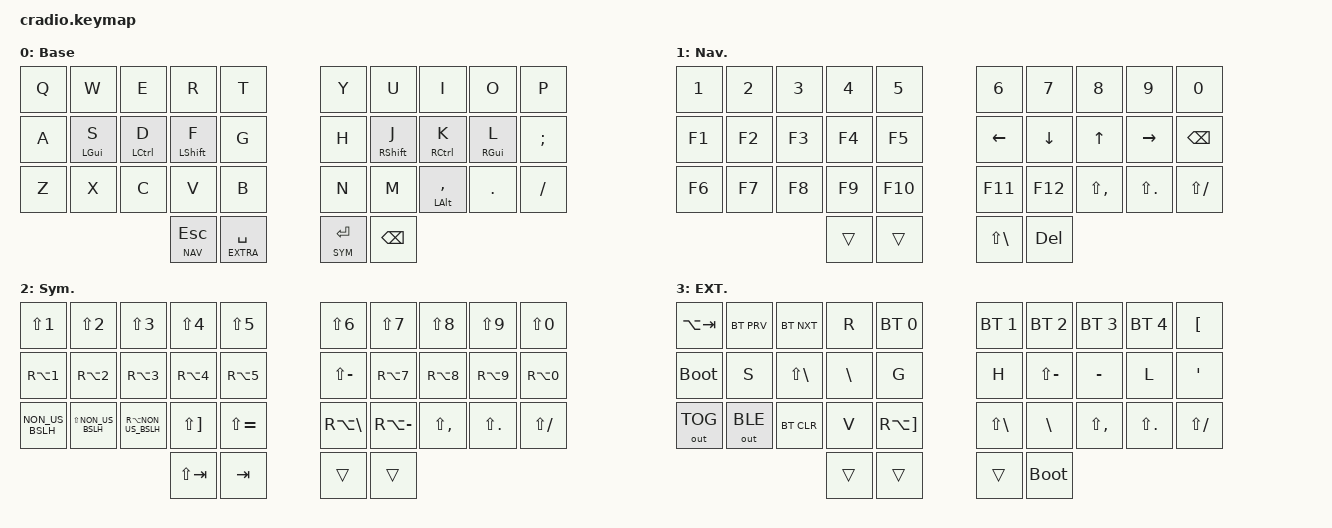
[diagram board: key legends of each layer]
/*
 * Copyright (c) 2020 duckyb
 *
 * SPDX-License-Identifier: MIT
 */

#include <behaviors.dtsi>
#include <dt-bindings/zmk/keys.h>
#include <dt-bindings/zmk/bt.h>
#include <dt-bindings/zmk/outputs.h>

// Layer definitions
#define DEFAULT 0
#define NAV 1
#define SYM 2
#define EXTRA 3
#define FUN 4
#define ES 5
#define MSE 6
#define MED 7
// -----------------

&sk {
	// don't release mods on other mods presses
	ignore-modifiers;
};


/ {
	behaviors {
		// Enables holding the first mod-tap key
		// by performing a tap-release-hold sequence.
		// To use it: "&qt KEYCODE1 KEYCODE2"
		/* qt: quick_tap {
			compatible = "zmk,behavior-hold-tap";
			label = "QUICK_TAP";
			#binding-cells = <2>;
			flavor = "hold-preferred";
			tapping-term-ms = <200>;
			quick-tap-ms = <200>;
			bindings = <&kp>, <&kp>;
		}; */
        bhm: balanced_homerow_mods {
            compatible = "zmk,behavior-hold-tap";
            #binding-cells = <2>;
            tapping-term-ms = <200>;    // <---[[moderate duration]]
            quick-tap-ms = <0>;
            flavor = "balanced";
            bindings = <&kp>, <&kp>;
        };
	};

	macros {
		// sometimes my device thinks a modifier is being held down
		// pressing all modifiers fixes it.
		unstick: unstick {
			label = "ZM_unstick";
			compatible = "zmk,behavior-macro";
			#binding-cells = <0>;
			bindings = <&kp LSHIFT &kp RSHIFT &kp LCTRL &kp RCTRL &kp LALT &kp RALT &kp LGUI &kp RGUI>;
		};
	};

	// combos {
	// 	compatible = "zmk,combos";
	// 	// both right thumb keys
	// 	combo_accent {
	// 		timeout-ms = <200>;
	// 		key-positions = <32 33>;
	// 		bindings = <&mo ACCENT>;
	// 	};
	// 	// internal-left & external-right thumb keys
	// 	combo_sym2 {
	// 		timeout-ms = <200>;
	// 		key-positions = <31 33>;
	// 		bindings = <&mo SYM2>;
	// 	};
	// 	// both left thumb keys
	// 	combo_settings {
	// 		timeout-ms = <200>;
	// 		key-positions = <30 31>;
	// 		bindings = <&mo SETTINGS>;
	// 	};
	// 	// left index & middle fingers (home-row)
	// 	// hold control & space for Adobe workflow
	// 	combo_ctrl_space {
	// 		timeout-ms = <200>;
	// 		key-positions = <12 13>;
	// 		bindings = <&kp LC(SPACE)>;
	// 		layers = <BASE>;
	// 	};
	// };

	keymap {
		compatible = "zmk,keymap";
		// Base alpha layer
		default_layer {
			label = "Base";
             bindings = <
        //╭──────────┬──────────┬──────────┬──────────┬──────────╮   ╭──────────┬──────────┬──────────┬──────────┬──────────╮
        //│  Q       │  W       │  E       │  R       │  T       │   │  Y       │  U       │  I       │  O       │  P       │
            &kp Q      &kp W      &kp E      &kp R      &kp T          &kp Y      &kp U      &kp I      &kp O      &kp P
        //├──────────┼──────────┼──────────┼──────────┼──────────┤   ├──────────┼──────────┼──────────┼──────────┼──────────┤
        //│  A       │  S       │  D       │  F       │  G       │   │  H       │  J       │  K       │  L       │  Ö       │
    &kp A     &bhm LEFT_GUI S     &bhm LEFT_CONTROL D  &bhm LEFT_SHIFT F &kp G &kp H  &bhm RIGHT_SHIFT J     &bhm RIGHT_CONTROL K &bhm RIGHT_GUI L  &kp SEMICOLON
        //├──────────┼──────────┼──────────┼──────────┼──────────┤   ├──────────┼──────────┼──────────┼──────────┼──────────┤
        //│  Z       │  X       │  C       │  V       │  B       │   │  N       │  M       │ , <      │ . >      │ _        │
             &kp Z    &kp X       &kp C      &kp V      &kp B          &kp N   &kp M   &bhm LEFT_ALT COMMA  &kp DOT    &kp SLASH
        //╰──────────┴──────────┴──────────┼──────────┼──────────┤   ├──────────┼──────────┼──────────┼──────────┴──────────╯
                                        &lt NAV ESC &lt EXTRA SPACE     &lt SYM ENTER &kp BSPC
        //                      ╰──────────┴──────────┴──────────╯   ╰──────────┴──────────┴──────────╯
            >;
		};

		nav_layer {
			label = "Nav.";
             bindings = <
        //╭──────────┬──────────┬──────────┬──────────┬──────────╮   ╭──────────┬──────────┬──────────┬──────────┬──────────╮
        //│  1       │  2       │  3       │  4       │  5       │   │  6       │  7       │  8       │  9       │  0       │
            &kp N1      &kp N2    &kp N3   &kp N4      &kp N5          &kp N6      &kp N7    &kp N8      &kp N9     &kp N0
        //├──────────┼──────────┼──────────┼──────────┼──────────┤   ├──────────┼──────────┼──────────┼──────────┼──────────┤
        //│  A       │  S       │  D       │  F       │  G       │   │  H       │  J       │  K       │  L       │BACKSPACE │
            &kp F1      &kp F2   &kp F3       &kp F4     &kp F5         &kp LEFT   &kp DOWN   &kp UP     &kp RIGHT &kp BSPC
        //├──────────┼──────────┼──────────┼──────────┼──────────┤   ├──────────┼──────────┼──────────┼──────────┼──────────┤
        //│  Z       │  X       │  C       │  V       │  B       │   │  N       │  M       │ , <      │ . >      │ ENTER    │
            &kp F6      &kp F7     &kp F8     &kp F9     &kp F10        &kp F11    &kp F12 &kp LS(COMMA) &kp LS(DOT) &kp LS(SLASH)
        //╰──────────┴──────────┴──────────┼──────────┼──────────┤   ├──────────┼──────────┼──────────┼──────────┴──────────╯
                                            &trans    &trans            &kp LS(BACKSLASH) &kp DEL
        //                      ╰──────────┴──────────┴──────────╯   ╰──────────┴──────────┴──────────╯
            >;
		};

		sym_layer {
			label = "Sym.";
            bindings = <
        //╭──────────┬──────────┬──────────┬──────────┬──────────╮   ╭──────────┬──────────┬──────────┬──────────┬──────────╮
        //│  Q       │  W       │  E       │  R       │  T       │   │  Y       │  U       │  I       │  O       │  P       │
            &kp LS(N1) &kp LS(N2) &kp LS(N3) &kp LS(N4) &kp LS(N5)    &kp LS(N6) &kp LS(N7) &kp LS(N8)  &kp LS(N9) &kp LS(N0)
        //├──────────┼──────────┼──────────┼──────────┼──────────┤   ├──────────┼──────────┼──────────┼──────────┼──────────┤
        //│  A       │  S       │  D       │  F       │  G       │   │  H       │  J       │  K       │  L       │          │
            &kp RA(N1) &kp RA(N2) &kp RA(N3) &kp RA(N4) &kp RA(N5)    &kp LS(MINUS) &kp RA(N7) &kp RA(N8) &kp RA(N9) &kp RA(N0)
        //├──────────┼──────────┼──────────┼──────────┼──────────┤   ├──────────┼──────────┼──────────┼──────────┼──────────┤
        //│  Z       │  X       │  C       │  V       │  B       │   │  N       │  M       │ , <      │ . >      │ ENTER    │
 &kp NON_US_BSLH &kp LS(NON_US_BSLH) &kp RA(NON_US_BSLH) &kp LS(RIGHT_BRACKET) &kp LS(EQUAL) &kp RA(BACKSLASH) &kp RA(MINUS) &kp LS(COMMA) &kp LS(DOT) &kp LS(SLASH)

        //╰──────────┴──────────┴──────────┼──────────┼──────────┤   ├──────────┼──────────┼──────────┼──────────┴──────────╯
                                             &kp LS(TAB) &kp TAB      &trans      &trans
        //                      ╰──────────┴──────────┴──────────╯   ╰──────────┴──────────┴──────────╯
            >;
		};

		extra_layer {
			label = "EXT.";
            bindings = <
        //╭──────────┬──────────┬──────────┬──────────┬──────────╮   ╭──────────┬──────────┬──────────┬──────────┬──────────╮
        //│  Q       │  W       │  E       │  R       │  T       │   │  Y       │  U       │  I       │  O       │  Å       │
      &kp LA(TAB)  &bt BT_PRV &bt BT_NXT &kp R &bt BT_SEL 0 &bt BT_SEL 1 &bt BT_SEL 2 &bt BT_SEL 3 &bt BT_SEL 4 &kp LEFT_BRACKET
        //├──────────┼──────────┼──────────┼──────────┼──────────┤   ├──────────┼──────────┼──────────┼──────────┼──────────┤
        //│  A       │  S       │  D       │  F       │  G       │   │  H       │  J       │  K       │  L       │  Ä       │
      &bootloader   &kp S &kp LS(BACKSLASH) &kp BACKSLASH &kp G   &kp H     &kp LS(MINUS) &kp MINUS &kp L   &kp SINGLE_QUOTE
        //├──────────┼──────────┼──────────┼──────────┼──────────┤   ├──────────┼──────────┼──────────┼──────────┼──────────┤
        //│  Z       │  X       │  C       │  V       │  B       │   │  N       │  M       │ , <      │ . >      │ ENTER    │
   &out OUT_TOG &out OUT_BLE   &bt BT_CLR    &kp V   &kp RA(RIGHT_BRACKET)  &kp LS(BACKSLASH) &kp BACKSLASH &kp LS(COMMA) &kp LS(DOT) &kp LS(SLASH)
        //╰──────────┴──────────┴──────────┼──────────┼──────────┤   ├──────────┼──────────┼──────────┼──────────┴──────────╯
                                            &trans     &trans          &trans    &bootloader
        //                      ╰──────────┴──────────┴──────────╯   ╰──────────┴──────────┴──────────╯
            >;
		};
	};
};
